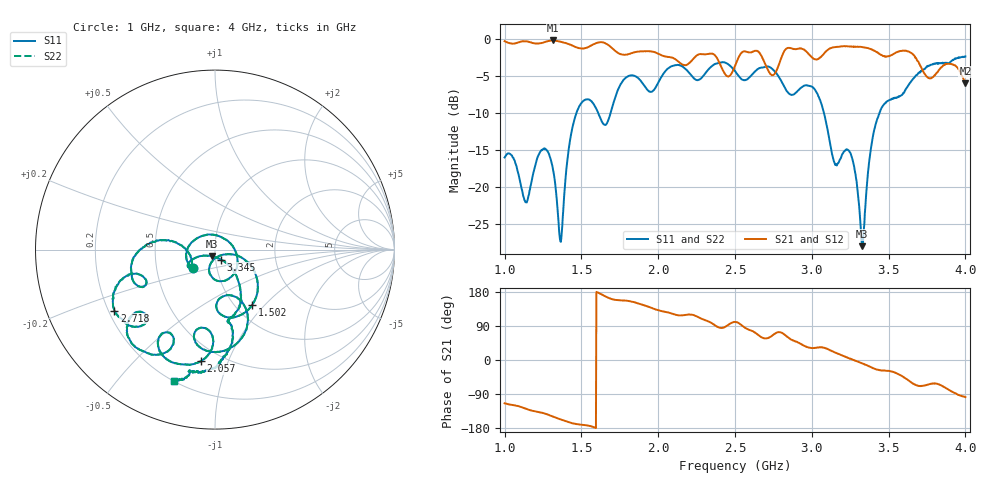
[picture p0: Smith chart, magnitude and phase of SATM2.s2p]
# MHz S MA R 50
!  freq  S11  S21  S12  S22
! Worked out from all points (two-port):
!   1000 points, 1 GHz to 4 GHz, reference 50 ohm
!   highest |S21| = -0.14 dB at 1.312 GHz (marker M1); lowest = -5.9 dB at 4 GHz (marker M2)
!   |S21| within 3 dB of the highest: start of sweep to 2.139 GHz; 2.791 GHz to 3.696 GHz (905.7 MHz wide, 27.9 % of centre)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
!   lowest |S11| = -28.1 dB at 3.327 GHz (marker M3), VSWR 1.08, Z = 48.3 - j3.5 ohm
!   |S11| at or under -10 dB: start of sweep to 1.467 GHz; 1.609 GHz to 1.69 GHz (80.41 MHz wide, 4.87 % of centre); 3.079 GHz to 3.44 GHz (361 MHz wide, 11.1 % of centre)
!   |S22| runs from -27.9 to -2.3 dB; largest |S21 - S12| = 0.011
!   S11 on the Smith chart (normalised r, x): 1 GHz: 0.77, -0.16; 1.502 GHz: 1.18, -0.85; 2.057 GHz: 0.39, -0.80; 2.718 GHz: 0.22, -0.27; 3.345 GHz: 1.06, -0.12; 4 GHz: 0.20, -0.71
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1000  0.158 -139.7  0.9732 -114.2  0.974 -114.1  0.158 -139.6
1138.138  0.07832 70.8  0.9725 -128.6  0.9732 -128.5  0.0779 70.7
1312.312  0.1364 -102.5  0.9845 -148.9  0.9846 -149.0  0.1362 -103.0
1366.366  0.04222 -56.6  0.9645 -157.1  0.9643 -157.2  0.04165 -56.2
1426.426  0.208 -22.9  0.9236 -165.2  0.9249 -165.2  0.2081 -22.8
1501.502  0.3722 -56.5  0.8681 -170.8  0.8696 -170.7  0.3728 -56.4
2000  0.5076 -91.2  0.7997 131.3  0.8003 131.4  0.5086 -91.1
2057.057  0.6266 -97.2  0.7629 126.4  0.7632 126.4  0.626 -97.3
2402.402  0.695 -126.0  0.6801 85.1  0.6808 85.0  0.6953 -126.1
2501.502  0.6078 -141.4  0.6671 100.5  0.6671 100.7  0.6062 -141.4
2627.628  0.6016 -134.6  0.8347 73.0  0.836 73.0  0.6013 -134.6
2717.718  0.6552 -148.8  0.6111 58.5  0.6118 58.2  0.6552 -149.1
2831.832  0.4541 -162.7  0.8622 63.9  0.8633 64.0  0.4549 -162.9
3000  0.4781 -168.1  0.7575 31.6  0.7583 31.7  0.4796 -167.8
3150.15  0.143 -168.3  0.8853 19.8  0.8861 19.9  0.1422 -168.2
3258.258  0.1614 -153.6  0.8934 2.2  0.8941 2.3  0.1617 -153.4
3327.327  0.03945 -113.6  0.8883 -8.9  0.8891 -8.8  0.04026 -112.9
3345.345  0.06618 -59.4  0.881 -11.2  0.8814 -11.7  0.06601 -58.7
3402.402  0.2319 -54.6  0.844 -21.9  0.8448 -21.8  0.2309 -54.5
3501.502  0.3857 -75.6  0.7699 -28.7  0.7714 -29.1  0.3871 -76.0
3654.655  0.5316 -80.0  0.799 -61.3  0.799 -61.0  0.5326 -79.8
4000  0.7671 -107.4  0.5046 -97.9  0.5062 -97.5  0.7669 -107.1
